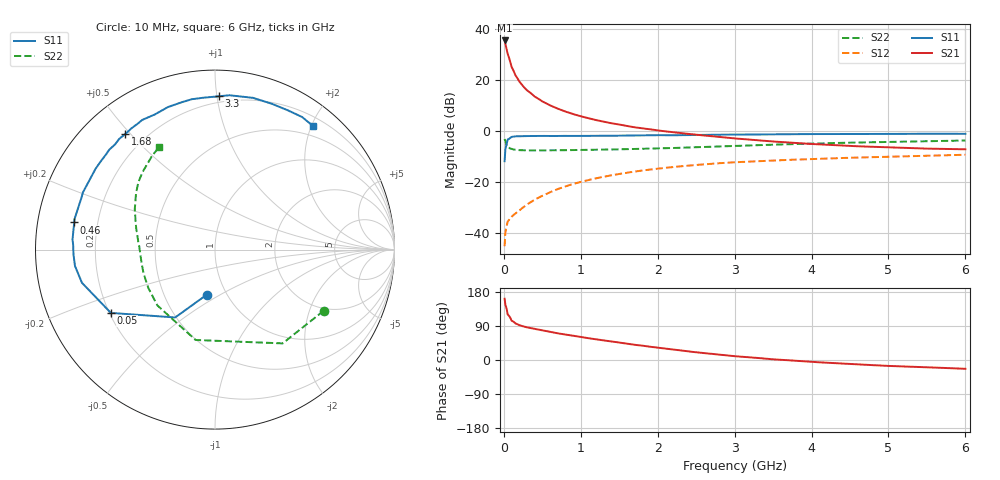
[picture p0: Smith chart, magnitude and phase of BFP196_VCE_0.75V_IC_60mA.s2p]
! Infineon Technologies  Discrete & RF Semiconductors
! BFP196
! VCE = 0.75V,  IC =  60mA
! Common Emitter S-Parameters:  Jan 2016
# GHz  S  MA  R  50
!  f  S11  S21  S12  S22
! GHz  MAG  ANG  MAG  ANG  MAG  ANG  MAG  ANG
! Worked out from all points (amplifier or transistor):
!   210 points, 10 MHz to 6 GHz, reference 50 ohm
!   highest |S21| = 35.5 dB at 10 MHz (marker M1)
!   |S21| within 3 dB of that: start of sweep to 33.31 MHz
!   unconditionally stable (mu >= 1): 284 MHz to end of sweep
!   at 185 MHz: K = 0.86, MSG = 25.9 dB, |S12| = -31.6 dB
!   at 1.52 GHz: K = 1.14, MAG = 7.3 dB, |S12| = -16.8 dB
!   at 6 GHz: K = 1.05, MAG = -0.3 dB, |S12| = -9.3 dB
!   S11 on the Smith chart (normalised r, x): 10 MHz: 0.81, -0.43; 50 MHz: 0.21, -0.27; 460 MHz: 0.11, +0.09; 1.68 GHz: 0.13, +0.48; 3.3 GHz: 0.16, +1.01; 6 GHz: 0.34, +2.03
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0.01  0.2551 -100.3  59.66 161.6  0.0055 69.9  0.6946 -29.4
0.02  0.4383 -120.4  51.74 145.9  0.0102 60.3  0.6443 -54.2
0.05  0.679 -148.7  32.51 120.1  0.0167 45.1  0.515 -102.1
0.1  0.7641 -166.0  18.22 104.0  0.0207 42.6  0.447 -135.9
0.15  0.7853 -173.3  12.45 96.7  0.0241 47.2  0.4287 -149.9
0.2  0.7889 -178.0  9.416 92.0  0.0274 52.0  0.4207 -157.7
0.24  0.7893 179.4  7.892 89.5  0.0308 54.5  0.4186 -161.9
0.26  0.7907 178.1  7.271 88.3  0.0325 55.6  0.4179 -163.6
0.3  0.7958 175.9  6.303 86.2  0.0359 57.5  0.4164 -166.1
0.4  0.7966 171.1  4.746 81.9  0.0448 60.6  0.4156 -170.9
0.46  0.7988 169.1  4.18 79.9  0.05 61.5  0.4158 -172.8
0.6  0.7966 163.4  3.184 74.2  0.063 63.2  0.4161 -176.4
0.7  0.7966 159.7  2.742 70.3  0.0723 62.6  0.4179 -178.3
1.02  0.8007 148.4  1.908 60.2  0.102 59.8  0.4239 176.8
1.3  0.8056 139.2  1.519 51.4  0.1266 56.0  0.4311 173.2
1.68  0.8154 127.9  1.194 40.6  0.1582 50.2  0.4424 168.5
2.02  0.8278 118.8  1.016 32.1  0.1837 44.9  0.4565 164.3
3.1  0.8496 92.5  0.695 8.6  0.2473 27.7  0.5137 149.9
3.3  0.8546 88.5  0.658 5.4  0.2555 24.8  0.5257 147.3
4.1  0.8706 74.5  0.546 -6.1  0.2849 14.5  0.5724 137.6
5.1  0.8766 61.3  0.472 -16.3  0.3155 3.2  0.6125 127.4
6  0.879 51.5  0.437 -23.2  0.3416 -6.7  0.6501 118.6
